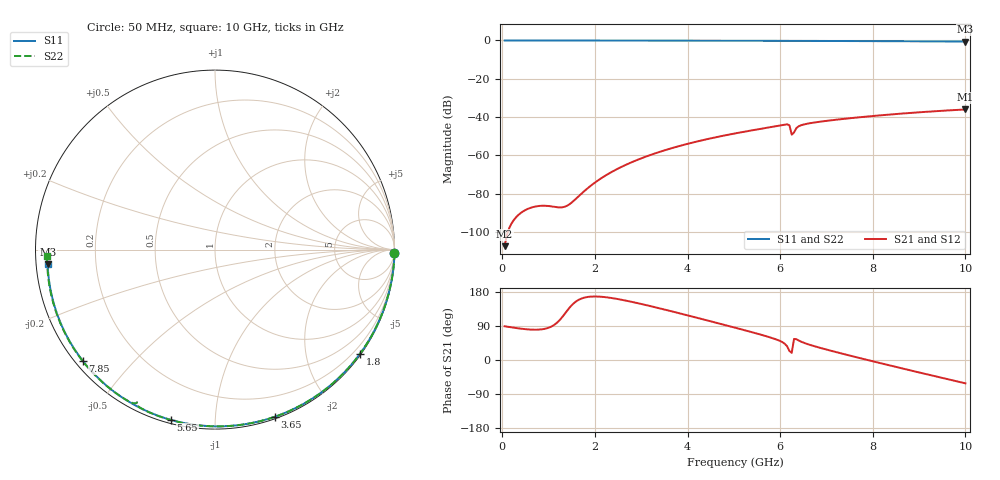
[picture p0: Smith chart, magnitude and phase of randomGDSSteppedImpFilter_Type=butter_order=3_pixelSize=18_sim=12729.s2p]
! freq	dB(S11)	phase(S11)	dB(S12)	phase(S12)
!  dB(S21)	phase(S21)	dB(S22)	phase(S22)
!S-par simulation data
#  GHz  S  DB  R 50
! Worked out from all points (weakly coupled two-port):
!   200 points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, 50 MHz to 10 GHz, reference 50 ohm
!   highest |S21| = -36.06 dB at 10 GHz (marker M1); lowest = -107.5 dB at 50 MHz (marker M2)
!   lowest |S11| = -0.6 dB at 10 GHz (marker M3), VSWR 30.19, Z = 1.66 - j2.18 ohm
!   |S11| at or under -10 dB: nowhere
!   |S22| runs from -0.6 to 0.0 dB; largest |S21 - S12| = 0
!   S11 on the Smith chart (normalised r, x): 50 MHz: open; 1.8 GHz: 0.03, -3.11; 3.65 GHz: 0.02, -1.42; 5.65 GHz: 0.02, -0.77; 7.85 GHz: 0.02, -0.36; 10 GHz: 0.03, -0.04
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0.05  -0.00 -1.0  -107.50 89.0  -107.50 89.0  -0.00 -1.0
0.85  -0.02 -17.1  -86.39 80.9  -86.39 80.9  -0.02 -17.6
1.7  -0.04 -33.7  -80.27 161.7  -80.27 161.7  -0.04 -34.8
1.75  -0.04 -34.7  -79.17 163.9  -79.17 163.9  -0.05 -35.8
1.8  -0.05 -35.7  -78.12 165.4  -78.12 165.4  -0.05 -36.8
2.1  -0.05 -41.4  -72.58 167.2  -72.58 167.2  -0.05 -42.7
2.5  -0.06 -49.0  -66.95 160.7  -66.95 160.7  -0.06 -50.6
3.4  -0.09 -65.7  -58.21 136.2  -58.21 136.2  -0.09 -67.6
3.65  -0.09 -70.2  -56.35 128.7  -56.35 128.7  -0.10 -72.2
5.05  -0.15 -94.5  -48.47 84.5  -48.47 84.5  -0.15 -97.0
5.65  -0.17 -104.5  -45.91 64.6  -45.91 64.6  -0.18 -107.2
6.15  -0.20 -112.7  -43.80 36.2  -43.80 36.2  -0.24 -115.9
6.2  -0.21 -113.5  -44.35 23.9  -44.35 23.9  -0.30 -116.9
6.25  -0.21 -114.3  -49.22 18.9  -49.22 18.9  -0.40 -117.0
6.3  -0.22 -115.1  -48.06 55.5  -48.06 55.5  -0.32 -117.3
6.35  -0.22 -115.9  -45.79 54.9  -45.79 54.9  -0.27 -118.2
6.4  -0.22 -116.7  -44.86 51.5  -44.86 51.5  -0.25 -119.1
6.7  -0.24 -121.6  -43.02 37.8  -43.02 37.8  -0.25 -124.2
7.85  -0.33 -139.9  -39.82 1.1  -39.82 1.1  -0.33 -142.7
8.35  -0.38 -147.9  -38.75 -13.8  -38.75 -13.8  -0.38 -150.7
9.2  -0.47 -161.6  -37.21 -38.7  -37.21 -38.7  -0.47 -164.5
10  -0.58 -175.0  -36.06 -61.5  -36.06 -61.5  -0.57 -177.8
